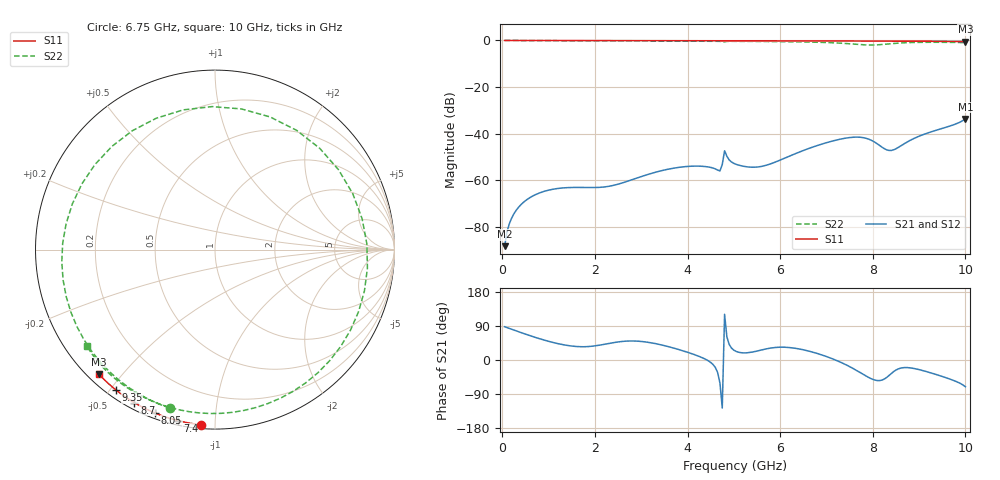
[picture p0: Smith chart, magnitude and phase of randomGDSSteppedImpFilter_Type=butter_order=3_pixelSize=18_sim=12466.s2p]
! freq	dB(S11)	phase(S11)	dB(S12)	phase(S12)
!  dB(S21)	phase(S21)	dB(S22)	phase(S22)
!S-par simulation data
#  GHz  S  DB  R 50
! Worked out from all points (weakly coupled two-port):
!   200 points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, 50 MHz to 10 GHz, reference 50 ohm
!   highest |S21| = -33.63 dB at 10 GHz (marker M1); lowest = -88.2 dB at 50 MHz (marker M2)
!   lowest |S11| = -0.5 dB at 10 GHz (marker M3), VSWR 37.40, Z = 1.59 - j21.7 ohm
!   |S11| at or under -10 dB: nowhere
!   |S22| runs from -2.0 to 0.0 dB; largest |S21 - S12| = 0
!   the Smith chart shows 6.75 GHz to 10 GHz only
!   S11 on the Smith chart (normalised r, x): 6.75 GHz: 0.02, -0.93; 7.4 GHz: 0.02, -0.80; 8.05 GHz: 0.02, -0.70; 8.7 GHz: 0.03, -0.60; 9.35 GHz: 0.03, -0.52; 10 GHz: 0.03, -0.43
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0.05  -0.00 -0.8  -88.20 87.8  -88.20 87.8  -0.00 -3.7
0.45  -0.01 -6.9  -69.53 70.4  -69.53 70.4  -0.05 -33.2
0.95  -0.02 -14.4  -64.44 51.0  -64.44 51.0  -0.09 -68.9
1.75  -0.03 -26.4  -63.03 35.0  -63.03 35.0  -0.14 -122.7
2.6  -0.05 -38.9  -61.04 49.1  -61.04 49.1  -0.19 -177.1
3.4  -0.07 -50.3  -56.02 40.8  -56.02 40.8  -0.24 130.4
4.2  -0.09 -61.4  -53.87 11.9  -53.87 11.9  -0.30 74.3
4.7  -0.10 -68.2  -55.94 -60.8  -55.94 -60.8  -0.39 37.6
4.8  -0.11 -69.5  -47.30 120.6  -47.30 120.6  -0.60 31.9
5.05  -0.11 -72.8  -53.12 22.6  -53.12 22.6  -0.37 13.2
5.5  -0.13 -78.7  -54.28 23.6  -54.28 23.6  -0.42 -18.6
6  -0.15 -85.1  -51.30 33.8  -51.30 33.8  -0.51 -52.9
6.7  -0.18 -93.8  -45.74 20.8  -45.74 20.8  -0.72 -102.1
6.75  -0.18 -94.4  -45.40 19.1  -45.40 19.1  -0.74 -105.9
7.4  -0.22 -102.4  -41.93 -11.3  -41.93 -11.3  -1.28 -168.7
7.7  -0.24 -106.0  -41.47 -31.2  -41.47 -31.2  -1.73 144.6
7.9  -0.26 -108.3  -42.23 -45.3  -42.23 -45.3  -1.96 102.8
8.05  -0.27 -110.1  -43.70 -53.1  -43.70 -53.1  -1.93 67.5
8.35  -0.29 -113.6  -47.16 -41.0  -47.16 -41.0  -1.45 2.1
8.7  -0.32 -117.7  -44.04 -20.0  -44.04 -20.0  -0.97 -50.1
9.35  -0.38 -125.3  -38.62 -37.6  -38.62 -37.6  -0.78 -105.3
10  -0.46 -133.0  -33.63 -70.6  -33.63 -70.6  -0.99 -143.1
